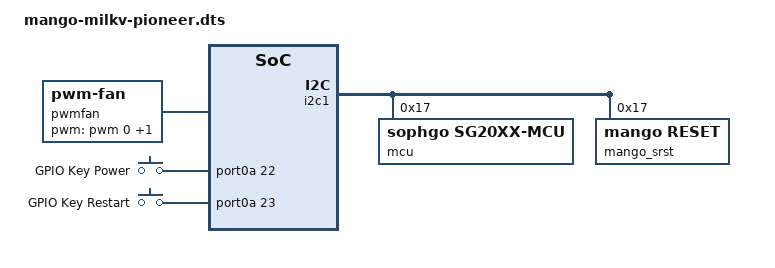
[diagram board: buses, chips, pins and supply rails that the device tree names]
#include "mango.dtsi"
#include "mango-pcie-4rc.dtsi"

/ {
	info {
		file-name = "mango-milkv-pioneer.dts";
	};
};

&i2c1 {
	mcu: sg2042mcu@17 {
		compatible = "sophgo,sg20xx-mcu";
		reg = <0x17>;
		#thermal-sensor-cells = <1>;
	};

	mango_srst: mango-reset@17 {
		compatible = "mango,reset";
		reg = <0x17>;
	};
};

&i2c2 {
	pinctrl-names = "default";
	pinctrl-0 = <&i2c2_acquire>;
};

&soc {
	/delete-node/ ethernet@7040026000;
	gpio-poweroff {
		compatible = "gpio-keys";
		input-name = "gpio-keys";
		pinctrl-names = "default";
		pinctrl-0 = <&pwr_key>;

		power {
			label = "GPIO Key Power";
			linux,code = <KEY_POWER>;
			gpios = <&port0a 22 GPIO_ACTIVE_HIGH>;
			linux,input-type = <1>;
			debounce-interval = <100>;
		};
	};

	gpio-restart {
		compatible = "gpio-keys";
		input-name = "gpio-keys";
		pinctrl-names = "default";
		pinctrl-0 = <&restart_key>;

		restart {
			label = "GPIO Key Restart";
			linux,code = <KEY_RESTART>;
			gpios = <&port0a 23 GPIO_ACTIVE_HIGH>;
			linux,input-type = <1>;
			debounce-interval = <100>;
		};
	};
};

&tach0 {
	pinctrl-names = "default";
	pinctrl-0 = <&fan0_acquire>;
};

&tach1 {
	pinctrl-names = "default";
	pinctrl-0 = <&fan1_acquire>;
};

/ {
	pwmfan: pwm-fan {
		compatible = "pwm-fan";
		pwms = <&pwm 0 40000>, <&pwm 1 40000>; // period_ns
		pwm-names = "pwm0","pwm1";
		pwm_inuse = "pwm0";
		#cooling-cells = <2>;
		cooling-levels = <1 1 1 1 1>;  //total 255
	};

	thermal_zones: thermal-zones {
		soc {
			polling-delay-passive = <1000>; /* milliseconds */
			polling-delay = <1000>; /* milliseconds */
			thermal-sensors = <&mcu 0>;

			trips {
				soc_pwmfan_trip1: soc_pwmfan_trip@1 {
					temperature = <30000>; /* millicelsius */
					hysteresis = <8000>; /* millicelsius */
					type = "active";
				};

				soc_pwmfan_trip2: soc_pwmfan_trip@2 {
					temperature = <40000>; /* millicelsius */
					hysteresis = <12000>; /* millicelsius */
					type = "active";
				};

				soc_pwmfan_trip3: soc_pwmfan_trip@3 {
					temperature = <50000>; /* millicelsius */
					hysteresis = <10000>; /* millicelsius */
					type = "active";
				};

				soc_pwmfan_trip4: soc_pwmfan_trip@4 {
					temperature = <60000>; /* millicelsius */
					hysteresis = <5000>; /* millicelsius */
					type = "active";
				};
			};

			cooling-maps {
				map0 {
					trip = <&soc_pwmfan_trip1>;
					cooling-device = <&pwmfan 0 1>;
				};

				map1 {
					trip = <&soc_pwmfan_trip2>;
					cooling-device = <&pwmfan 1 2>;
				};

				map2 {
					trip = <&soc_pwmfan_trip3>;
					cooling-device = <&pwmfan 2 3>;
				};

				map3 {
					trip = <&soc_pwmfan_trip4>;
					cooling-device = <&pwmfan 3 4>;
				};
			};

		};

		board {
			polling-delay-passive = <1000>; /* milliseconds */
			polling-delay = <1000>; /* milliseconds */
			thermal-sensors = <&mcu 1>;

			trips {
				board_pwmfan_trip1: board_pwmfan_trip@1 {
					temperature = <75000>; /* millicelsius */
					hysteresis = <8000>; /* millicelsius */
					type = "active";
				};
			};

			cooling-maps {
				map4 {
					trip = <&board_pwmfan_trip1>;
					cooling-device = <&pwmfan 3 4>;
				};
			};
		};
	};

};

&chosen {
	bootargs = "console=ttyS0,115200 console=tty1 earlycon ignore_loglevel rdinit=/init root=/dev/ram0 rw initrd=0x30000000,32M retain_initrd maxcpus=1 nvme.use_threaded_interrupts=1 nvme_core.io_timeout=3000";
};
